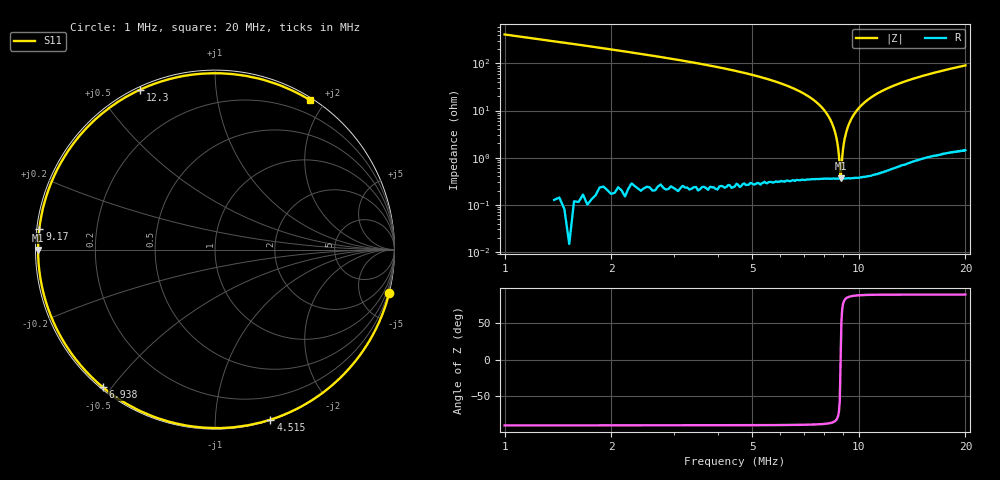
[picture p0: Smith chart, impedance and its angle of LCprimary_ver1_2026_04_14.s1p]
# HZ S RI R 50
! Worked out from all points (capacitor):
!   401 points, 1 MHz to 20 MHz, reference 50 ohm
!   read as one part to ground: C = 381 pF near 1.095 MHz
!   lowest |Z| = 364 mohm at 8.885 MHz (marker M1)
!   series resonance near 8.888 MHz, so ESL is about 840 nH
!   S11 on the Smith chart (normalised r, x): 1 MHz: -0.00, -8.25; 4.515 MHz: 0.01, -1.38; 6.938 MHz: 0.01, -0.48; 9.17 MHz: 0.01, +0.06; 12.3 MHz: 0.01, +0.64; 20 MHz: 0.03, +1.82
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1000000  0.971 -0.239
1617500  0.9228 -0.3848
2235000  0.8489 -0.5274
2805000  0.7558 -0.653
3375000  0.6358 -0.7698
3945000  0.4873 -0.8707
4515000  0.309 -0.947
5180000  0.0676 -0.9923
5750000  -0.1598 -0.9802
6320000  -0.3911 -0.9106
6937500  -0.6247 -0.7666
7555000  -0.8139 -0.5587
8125000  -0.9302 -0.3278
8505000  -0.972 -0.1643
8885000  -0.9856 -0.00134
9170000  -0.9787 0.1167
9787500  -0.9211 0.3509
1.05e7  -0.8029 0.5717
1.09275e7  -0.7165 0.6766
1.1355e7  -0.6245 0.7617
1.2305e7  -0.418 0.8908
1.2875e7  -0.3003 0.9365
1.392e7  -0.1061 0.9773
1.525e7  0.0974 0.9779
1.639e7  0.2368 0.9545
1.7625e7  0.3585 0.9168
1.88125e7  0.4524 0.8758
2e7  0.5294 0.8327
